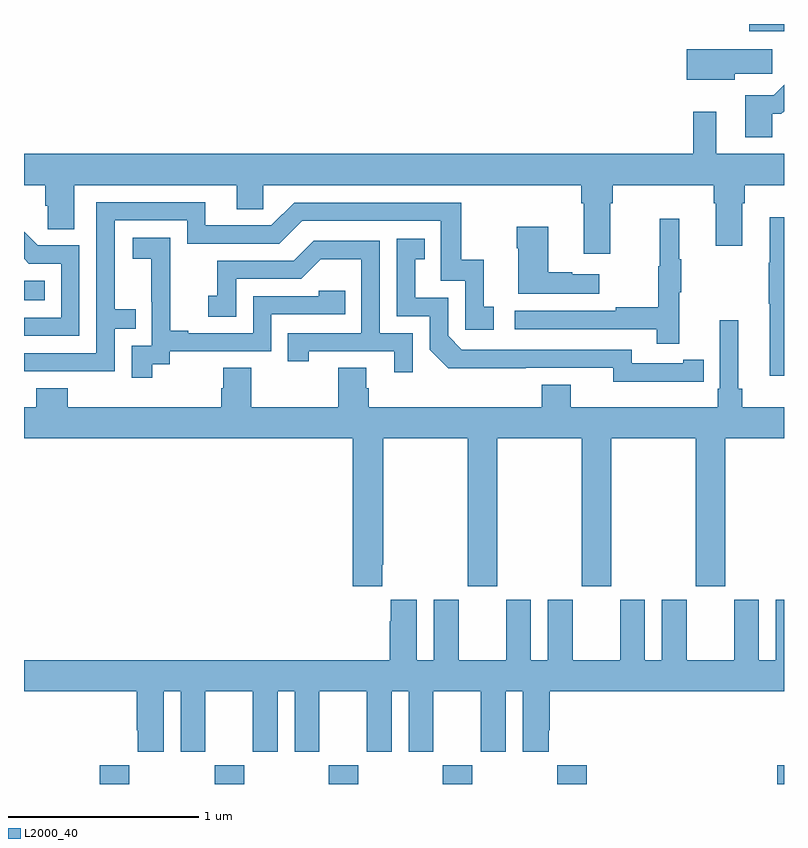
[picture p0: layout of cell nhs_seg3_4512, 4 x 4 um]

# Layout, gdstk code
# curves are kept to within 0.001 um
import gdstk
lib = gdstk.Library(unit=1e-6, precision=1e-09)
def R(c, l, rs):  # rectangles x0, y0, x1, y1
    for r in rs: c.add(gdstk.rectangle(r[:2], r[2:], *l))
def A(c, l, x, y, w, h, nx, ny, dx, dy):  # array of equal rectangles
    R(c, l, [(x+i*dx, y+j*dy, x+i*dx+w, y+j*dy+h) for i in range(nx) for j in range(ny)])
def P(c, l, *ps):  # polygons
    for p in ps: c.add(gdstk.Polygon(p, *l))
L2000_40 = (2000, 40)

nhs_seg3_4512 = lib.new_cell('nhs_seg3_4512')
A(nhs_seg3_4512, L2000_40, 352.003, 728.4, 0.155, 0.1, 3, 1, 0.6, 0)
R(nhs_seg3_4512, L2000_40, [(351.398,728.4,351.553,728.5), (353.807,728.4,353.963,728.5), (354.965,728.4,355,728.5), (351,730.946,351.11,731.05), (354.818,732.362,355,732.4)])
P(nhs_seg3_4512, L2000_40, [(354.742,732.139),(354.937,732.139),(354.937,732.268),(354.488,732.268),(354.488,732.107),(354.742,732.107)],
  [(354.937,731.927),(354.986,731.927),(355,731.941),(355,732.079),(354.946,732.025),(354.797,732.025),(354.797,731.805),(354.937,731.805)],
  [(354.085,731.456),(354.098,731.456),(354.098,731.552),(354.629,731.552),(354.629,731.456),(354.641,731.456),(354.641,731.232),(354.781,731.232),(354.781,731.456),(354.794,731.456),(354.794,731.552),(355,731.552),(355,731.716),(354.643,731.716),(354.643,731.938),(354.522,731.938),(354.522,731.716),(351,731.716),(351,731.552),(351.113,731.552),(351.113,731.443),(351.126,731.443),(351.126,731.32),(351.265,731.32),(351.265,731.552),(352.121,731.552),(352.121,731.425),(352.26,731.425),(352.26,731.552),(353.933,731.552),(353.933,731.456),(353.945,731.456),(353.945,731.19),(354.085,731.19)],
  [(351.477,730.797),(351.587,730.797),(351.587,730.898),(351.477,730.898),(351.477,731.367),(351.858,731.367),(351.858,731.244),(352.344,731.244),(352.464,731.364),(353.193,731.364),(353.193,731.049),(353.322,731.049),(353.322,730.791),(353.473,730.791),(353.473,730.911),(353.42,730.911),(353.42,731.158),(353.302,731.158),(353.302,731.46),(352.422,731.46),(352.302,731.34),(351.955,731.34),(351.955,731.463),(351.381,731.463),(351.381,730.668),(351,730.668),(351,730.572),(351.477,730.572)],
  [(355,731.383),(354.926,731.383),(354.926,731.144),(354.919,731.144),(354.919,730.927),(354.926,730.927),(354.926,730.548),(355,730.548)],
  [(354.449,730.987),(354.46,730.987),(354.46,731.161),(354.449,731.161),(354.449,731.374),(354.346,731.374),(354.346,731.124),(354.339,731.124),(354.339,730.91),(354.115,730.91),(354.115,730.89),(353.583,730.89),(353.583,730.794),(354.331,730.794),(354.331,730.716),(354.449,730.716)],
  [(354.028,731.083),(353.885,731.083),(353.885,731.093),(353.758,731.093),(353.758,731.332),(353.593,731.332),(353.593,731.219),(353.6,731.219),(353.6,730.979),(354.028,730.979)],
  [(351.291,731.235),(351.072,731.235),(351,731.307),(351,731.165),(351.026,731.139),(351.195,731.139),(351.195,730.854),(351,730.854),(351,730.758),(351.291,730.758)],
  [(351.676,730.609),(351.768,730.609),(351.768,730.677),(352.302,730.677),(352.302,730.872),(352.691,730.872),(352.691,730.995),(352.551,730.995),(352.551,730.968),(352.206,730.968),(352.206,730.773),(351.865,730.773),(351.865,730.786),(351.77,730.786),(351.77,731.069),(351.771,731.069),(351.771,731.275),(351.573,731.275),(351.573,731.165),(351.671,731.165),(351.671,730.937),(351.672,730.937),(351.672,730.707),(351.567,730.707),(351.567,730.539),(351.676,730.539)],
  [(354.47,730.518),(354.578,730.518),(354.578,730.634),(354.47,730.634),(354.47,730.614),(354.198,730.614),(354.198,730.686),(353.304,730.686),(353.232,730.758),(353.232,730.959),(353.059,730.959),(353.059,731.163),(353.108,731.163),(353.108,731.269),(352.962,731.269),(352.962,730.863),(353.136,730.863),(353.136,730.686),(353.234,730.589),(354.102,730.59),(354.102,730.517)],
  [(353.046,730.773),(352.872,730.773),(352.872,731.259),(352.526,731.259),(352.421,731.154),(352.018,731.154),(352.018,730.969),(351.969,730.969),(351.969,730.86),(352.116,730.86),(352.116,731.058),(352.458,731.058),(352.562,731.162),(352.776,731.162),(352.776,730.773),(352.387,730.773),(352.387,730.626),(352.498,730.626),(352.498,730.677),(352.949,730.677),(352.949,730.566),(353.046,730.566)],
  [(352.73,729.441),(352.885,729.441),(352.885,729.553),(352.89,729.553),(352.89,730.22),(353.335,730.22),(353.335,729.441),(353.49,729.441),(353.49,730.22),(353.935,730.22),(353.935,729.441),(354.09,729.441),(354.09,730.22),(354.535,730.22),(354.535,729.441),(354.69,729.441),(354.69,730.22),(355,730.22),(355,730.384),(354.779,730.384),(354.779,730.48),(354.76,730.48),(354.76,730.84),(354.663,730.84),(354.663,730.48),(354.65,730.48),(354.65,730.384),(353.878,730.384),(353.878,730.501),(353.726,730.501),(353.726,730.384),(352.814,730.384),(352.814,730.482),(352.801,730.482),(352.801,730.592),(352.654,730.592),(352.654,730.384),(352.197,730.384),(352.197,730.592),(352.049,730.592),(352.049,730.482),(352.037,730.482),(352.037,730.384),(351.23,730.384),(351.23,730.483),(351.065,730.483),(351.065,730.384),(351,730.384),(351,730.22),(352.73,730.22)],
  [(351,728.888),(351.593,728.888),(351.593,728.683),(351.599,728.683),(351.599,728.571),(351.736,728.571),(351.736,728.888),(351.824,728.888),(351.824,728.571),(351.955,728.571),(351.955,728.888),(352.205,728.888),(352.205,728.571),(352.336,728.571),(352.336,728.888),(352.424,728.888),(352.424,728.571),(352.555,728.571),(352.555,728.888),(352.805,728.888),(352.805,728.571),(352.936,728.571),(352.936,728.888),(353.024,728.888),(353.024,728.571),(353.155,728.571),(353.155,728.888),(353.405,728.888),(353.405,728.571),(353.536,728.571),(353.536,728.888),(353.624,728.888),(353.624,728.571),(353.761,728.571),(353.761,728.683),(353.768,728.683),(353.768,728.888),(355,728.888),(355,729.37),(354.956,729.37),(354.956,729.052),(354.868,729.052),(354.868,729.37),(354.737,729.37),(354.737,729.052),(354.487,729.052),(354.487,729.37),(354.356,729.37),(354.356,729.052),(354.268,729.052),(354.268,729.37),(354.137,729.37),(354.137,729.052),(353.887,729.052),(353.887,729.37),(353.756,729.37),(353.756,729.052),(353.668,729.052),(353.668,729.37),(353.537,729.37),(353.537,729.052),(353.287,729.052),(353.287,729.37),(353.156,729.37),(353.156,729.052),(353.068,729.052),(353.068,729.37),(352.931,729.37),(352.931,729.257),(352.925,729.257),(352.925,729.052),(351,729.052)])

lib.write_gds('nhs_seg3_4512.gds')
